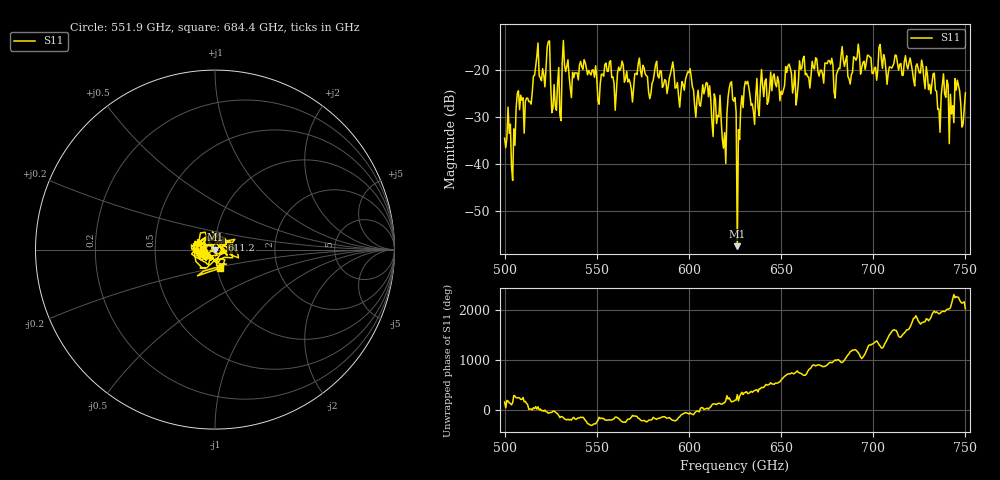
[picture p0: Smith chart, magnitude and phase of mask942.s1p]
!Created with skrf (http://scikit-rf.org).
# GHz S MA R 50.0
!freq magS11 angS11
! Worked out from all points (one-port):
!   401 points, 500 GHz to 750 GHz, reference 50 ohm
!   lowest |S11| = -57.4 dB at 626.2 GHz (marker M1), VSWR 1.00, Z = 50.1 - j0.1 ohm
!   |S11| at or under -10 dB: start of sweep to end of sweep
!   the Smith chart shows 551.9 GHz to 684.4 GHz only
!   S11 on the Smith chart (normalised r, x): 551.9 GHz: 0.87, -0.03; 611.2 GHz: 1.07, +0.12; 684.4 GHz: 1.04, -0.22
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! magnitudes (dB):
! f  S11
! 500 GHz  -34.5
! 504.4 GHz  -43.5
! 507.5 GHz  -24.5
! 513.8 GHz  -26.8
! 516.9 GHz  -19.3
! 523.8 GHz  -14.0
! 526.9 GHz  -23.2
! 531.2 GHz  -18.6
! 533.1 GHz  -20.4
! 551.9 GHz  -23.0
! 562.5 GHz  -20.2
! 593.8 GHz  -22.7
! 600 GHz  -20.6
! 604.4 GHz  -26.3
! 611.2 GHz  -23.4
! 618.8 GHz  -36.6
! 623.1 GHz  -22.6
! 625 GHz  -25.9
! 626.2 GHz  -57.4
! 631.2 GHz  -23.0
! 635 GHz  -28.8
! 656.2 GHz  -25.0
! 684.4 GHz  -19.3
! 687.5 GHz  -23.1
! 691.2 GHz  -17.4
! 718.8 GHz  -19.9
! 735.6 GHz  -28.4
! 750 GHz  -24.9
